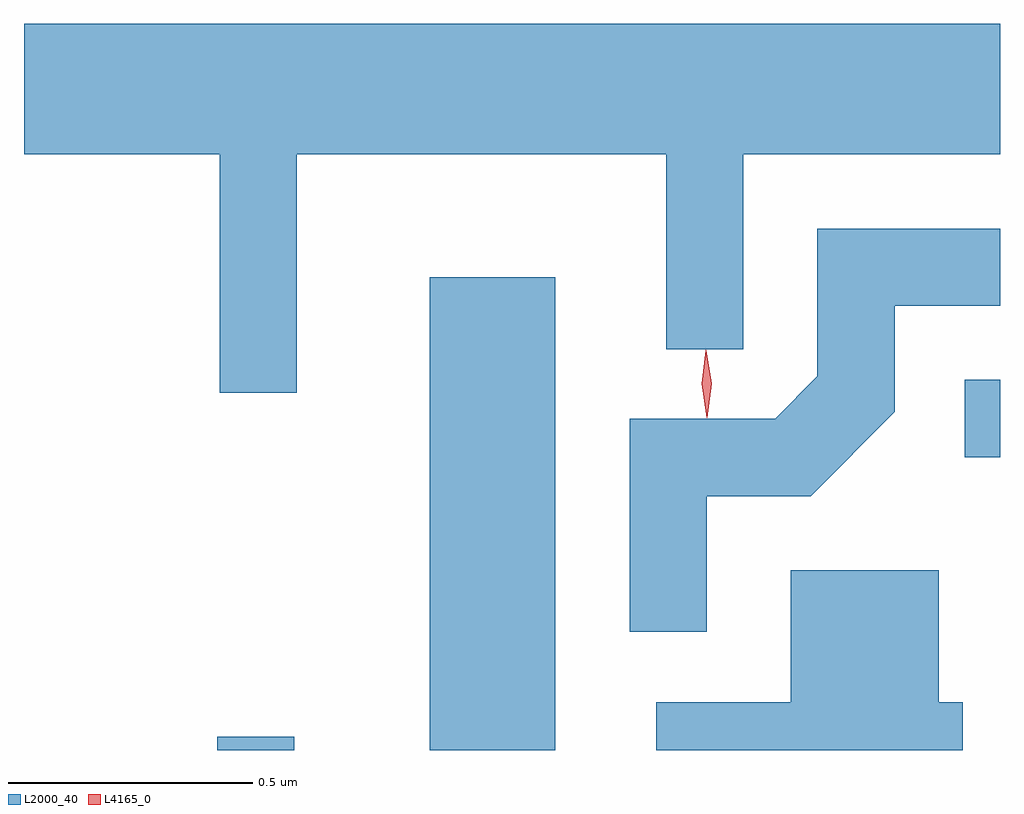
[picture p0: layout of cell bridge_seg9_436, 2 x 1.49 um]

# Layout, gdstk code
import gdstk
lib = gdstk.Library(unit=1e-6, precision=1e-09)
def R(c, l, rs):  # rectangles x0, y0, x1, y1
    for r in rs: c.add(gdstk.rectangle(r[:2], r[2:], *l))
def P(c, l, *ps):  # polygons
    for p in ps: c.add(gdstk.Polygon(p, *l))
L2000_40 = (2000, 40)
L4165_0 = (4165, 0)

bridge_seg9_436 = lib.new_cell('bridge_seg9_436')
R(bridge_seg9_436, L2000_40, [(527.081,2048.315,527.239,2048.343), (527.516,2048.315,527.774,2049.284), (528.613,2048.916,528.685,2049.074)])
P(bridge_seg9_436, L2000_40, [(527.244,2049.536),(528.001,2049.536),(528.001,2049.137),(528.159,2049.137),(528.159,2049.536),(528.685,2049.536),(528.685,2049.804),(526.685,2049.804),(526.685,2049.536),(527.086,2049.536),(527.086,2049.048),(527.244,2049.048)],
  [(528.084,2048.836),(528.297,2048.836),(528.469,2049.009),(528.469,2049.226),(528.685,2049.226),(528.685,2049.384),(528.311,2049.384),(528.311,2049.082),(528.224,2048.994),(527.926,2048.994),(527.926,2048.558),(528.084,2048.558)],
  [(528.609,2048.414),(528.559,2048.414),(528.559,2048.684),(528.256,2048.684),(528.256,2048.414),(527.981,2048.414),(527.981,2048.315),(528.609,2048.315)])
P(bridge_seg9_436, L4165_0, [(528.084,2048.997),(528.074,2049.066),(528.082,2049.135),(528.082,2049.136),(528.083,2049.135),(528.094,2049.066),(528.085,2048.997),(528.085,2048.997)],
  [(528.085,2048.999),(528.084,2049),(528.074,2049.066),(528.082,2049.132),(528.082,2049.132),(528.083,2049.132),(528.094,2049.066),(528.085,2049)])

lib.write_gds('bridge_seg9_436.gds')
